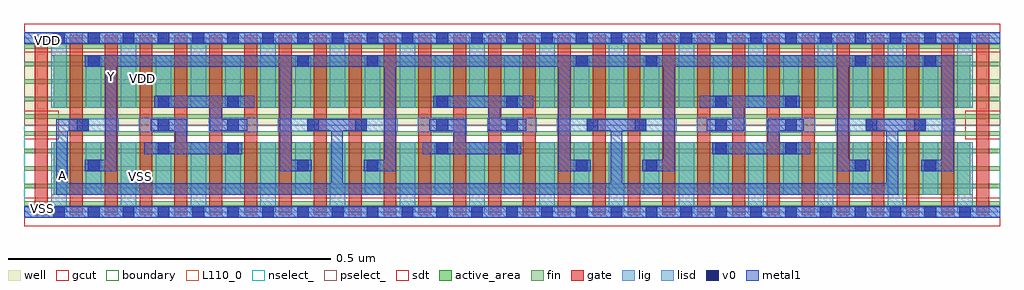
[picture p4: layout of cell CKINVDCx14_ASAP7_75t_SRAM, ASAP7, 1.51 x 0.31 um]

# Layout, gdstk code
import gdstk
lib = gdstk.Library(unit=1e-6, precision=1e-09)
def R(c, l, rs):  # rectangles x0, y0, x1, y1
    for r in rs: c.add(gdstk.rectangle(r[:2], r[2:], *l))
def A(c, l, x, y, w, h, nx, ny, dx, dy):  # array of equal rectangles
    R(c, l, [(x+i*dx, y+j*dy, x+i*dx+w, y+j*dy+h) for i in range(nx) for j in range(ny)])
def P(c, l, *ps):  # polygons
    for p in ps: c.add(gdstk.Polygon(p, *l))
well = (1, 0)
fin = (2, 0)
gate = (7, 0)
gcut = (10, 0)
active_area = (11, 0)
nselect_ = (12, 0)
pselect_ = (13, 0)
lig = (16, 0)
lisd = (17, 0)
v0 = (18, 0)
metal1 = (19, 0)
sdt = (88, 0)
boundary = (100, 0)
L110_0 = (110, 0)

ckinvdcx14_asap7_75t_sra = lib.new_cell('CKINVDCx14_ASAP7_75t_SRAM')
R(ckinvdcx14_asap7_75t_sra, well, [(0,0.135,1.512,0.27)])
A(ckinvdcx14_asap7_75t_sra, fin, 0, 0.01, 1.512, 0.007, 1, 10, 0, 0.027)
A(ckinvdcx14_asap7_75t_sra, gate, 0.017, -0.005, 0.02, 0.28, 26, 1, 0.054, 0)
A(ckinvdcx14_asap7_75t_sra, gate, 1.367, -0.005, 0.02, 0.28, 3, 1, 0.054, 0)
R(ckinvdcx14_asap7_75t_sra, gcut, [(0,-0.022,1.512,0.022), (0,0.113,0.054,0.157), (1.458,0.113,1.512,0.157), (0,0.248,1.512,0.292)])
R(ckinvdcx14_asap7_75t_sra, active_area, [(0.046,0.027,1.466,0.108), (0.046,0.162,1.466,0.243)])
R(ckinvdcx14_asap7_75t_sra, nselect_, [(0,0,1.512,0.135)])
R(ckinvdcx14_asap7_75t_sra, pselect_, [(0,0.135,1.512,0.27)])
A(ckinvdcx14_asap7_75t_sra, lig, 0.393, 0.125, 0.186, 0.02, 3, 1, 0.432, 0)
R(ckinvdcx14_asap7_75t_sra, lig, [(0,-0.008,1.512,0.008), (0.178,0.124,0.254,0.146), (0.286,0.124,0.362,0.146), (0.61,0.124,0.686,0.146), (0.718,0.124,0.794,0.146), (1.042,0.124,1.118,0.146), (1.15,0.124,1.226,0.146), (0.069,0.125,0.147,0.145), (0,0.262,1.512,0.278)])
A(ckinvdcx14_asap7_75t_sra, lisd, 0.042, 0, 0.024, 0.108, 14, 2, 0.108, 0.162)
A(ckinvdcx14_asap7_75t_sra, lisd, 0.096, 0.027, 0.024, 0.081, 13, 2, 0.108, 0.135)
A(ckinvdcx14_asap7_75t_sra, v0, 0.045, -0.009, 0.018, 0.018, 27, 2, 0.054, 0.27)
A(ckinvdcx14_asap7_75t_sra, v0, 0.207, 0.09, 0.018, 0.018, 1, 3, 0, 0.036)
A(ckinvdcx14_asap7_75t_sra, v0, 0.315, 0.09, 0.018, 0.018, 1, 3, 0, 0.036)
A(ckinvdcx14_asap7_75t_sra, v0, 0.639, 0.09, 0.018, 0.018, 1, 3, 0, 0.036)
A(ckinvdcx14_asap7_75t_sra, v0, 0.747, 0.09, 0.018, 0.018, 1, 3, 0, 0.036)
A(ckinvdcx14_asap7_75t_sra, v0, 1.071, 0.09, 0.018, 0.018, 1, 3, 0, 0.036)
A(ckinvdcx14_asap7_75t_sra, v0, 1.179, 0.09, 0.018, 0.018, 1, 3, 0, 0.036)
R(ckinvdcx14_asap7_75t_sra, v0, [(0.099,0.063,0.117,0.081), (0.423,0.063,0.441,0.081), (0.531,0.063,0.549,0.081), (0.855,0.063,0.873,0.081), (0.963,0.063,0.981,0.081), (1.287,0.063,1.305,0.081), (1.395,0.063,1.413,0.081), (0.082,0.126,0.1,0.144), (0.439,0.126,0.457,0.144), (0.513,0.126,0.531,0.144), (0.872,0.126,0.89,0.144), (0.946,0.126,0.964,0.144), (1.304,0.126,1.322,0.144), (1.379,0.126,1.397,0.144), (0.099,0.225,0.117,0.243), (0.423,0.225,0.441,0.243), (0.531,0.225,0.549,0.243), (0.855,0.225,0.873,0.243), (0.963,0.225,0.981,0.243), (1.287,0.225,1.305,0.243), (1.395,0.225,1.413,0.243)])
R(ckinvdcx14_asap7_75t_sra, metal1, [(0,-0.009,1.512,0.009), (0,0.261,1.512,0.279)])
P(ckinvdcx14_asap7_75t_sra, metal1, [(1.44,0.243),(0.094,0.243),(0.094,0.225),(0.126,0.225),(0.126,0.081),(0.094,0.081),(0.094,0.063),(0.144,0.063),(0.144,0.225),(0.396,0.225),(0.396,0.063),(0.446,0.063),(0.446,0.081),(0.414,0.081),(0.414,0.225),(0.558,0.225),(0.558,0.081),(0.526,0.081),(0.526,0.063),(0.576,0.063),(0.576,0.225),(0.828,0.225),(0.828,0.063),(0.878,0.063),(0.878,0.081),(0.846,0.081),(0.846,0.225),(0.99,0.225),(0.99,0.081),(0.958,0.081),(0.958,0.063),(1.008,0.063),(1.008,0.225),(1.26,0.225),(1.26,0.063),(1.31,0.063),(1.31,0.081),(1.278,0.081),(1.278,0.225),(1.422,0.225),(1.422,0.081),(1.39,0.081),(1.39,0.063),(1.44,0.063)],
  [(0.77,0.108),(0.684,0.108),(0.684,0.144),(0.628,0.144),(0.628,0.126),(0.666,0.126),(0.666,0.108),(0.618,0.108),(0.618,0.09),(0.77,0.09)],
  [(0.338,0.108),(0.252,0.108),(0.252,0.144),(0.196,0.144),(0.196,0.126),(0.234,0.126),(0.234,0.108),(0.186,0.108),(0.186,0.09),(0.338,0.09)],
  [(1.397,0.144),(1.304,0.144),(1.304,0.126),(1.336,0.126),(1.336,0.045),(0.927,0.045),(0.927,0.126),(0.964,0.126),(0.964,0.144),(0.872,0.144),(0.872,0.126),(0.909,0.126),(0.909,0.045),(0.494,0.045),(0.494,0.126),(0.531,0.126),(0.531,0.144),(0.439,0.144),(0.439,0.126),(0.476,0.126),(0.476,0.045),(0.068,0.045),(0.068,0.126),(0.1,0.126),(0.1,0.144),(0.05,0.144),(0.05,0.027),(1.354,0.027),(1.354,0.126),(1.397,0.126)],
  [(0.357,0.18),(0.202,0.18),(0.202,0.162),(0.288,0.162),(0.288,0.126),(0.346,0.126),(0.346,0.144),(0.306,0.144),(0.306,0.162),(0.357,0.162)],
  [(0.789,0.18),(0.634,0.18),(0.634,0.162),(0.72,0.162),(0.72,0.126),(0.778,0.126),(0.778,0.144),(0.738,0.144),(0.738,0.162),(0.789,0.162)],
  [(1.202,0.18),(1.047,0.18),(1.047,0.162),(1.098,0.162),(1.098,0.144),(1.058,0.144),(1.058,0.126),(1.116,0.126),(1.116,0.162),(1.202,0.162)],
  [(1.218,0.108),(1.17,0.108),(1.17,0.126),(1.208,0.126),(1.208,0.144),(1.152,0.144),(1.152,0.108),(1.066,0.108),(1.066,0.09),(1.218,0.09)])
A(ckinvdcx14_asap7_75t_sra, sdt, 0.042, 0.027, 0.024, 0.081, 25, 2, 0.054, 0.135)
A(ckinvdcx14_asap7_75t_sra, sdt, 1.338, 0.027, 0.024, 0.081, 3, 2, 0.054, 0.135)
R(ckinvdcx14_asap7_75t_sra, boundary, [(0,0,1.512,0.27)])
R(ckinvdcx14_asap7_75t_sra, L110_0, [(0,0,1.512,0.27)])
ckinvdcx14_asap7_75t_sra.add(gdstk.Label('VDD', (0.184,0.207), layer=1, texttype=251))
ckinvdcx14_asap7_75t_sra.add(gdstk.Label('VSS', (0.181,0.055), layer=3, texttype=251))
ckinvdcx14_asap7_75t_sra.add(gdstk.Label('VSS', (0.029,0.006), layer=19, texttype=251))
ckinvdcx14_asap7_75t_sra.add(gdstk.Label('VDD', (0.036,0.266), layer=19, texttype=251))
ckinvdcx14_asap7_75t_sra.add(gdstk.Label('Y', (0.135,0.21), layer=19, texttype=251))
ckinvdcx14_asap7_75t_sra.add(gdstk.Label('A', (0.06,0.057), layer=19, texttype=251))

lib.write_gds('CKINVDCx14_ASAP7_75t_SRAM.gds')
